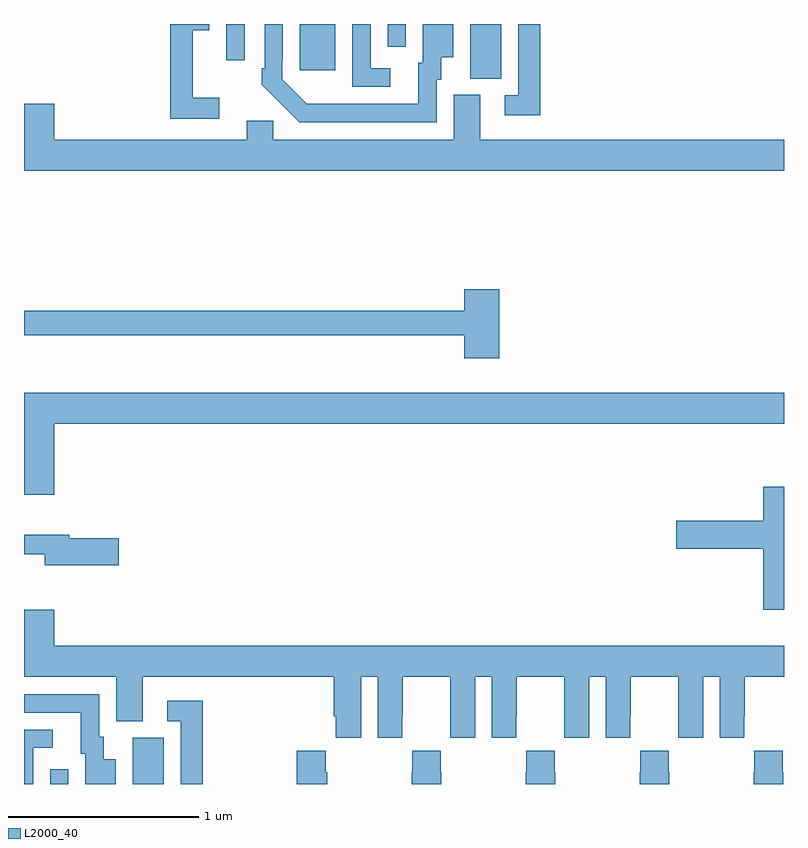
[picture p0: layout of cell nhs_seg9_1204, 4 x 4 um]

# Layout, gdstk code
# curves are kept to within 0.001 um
import gdstk
lib = gdstk.Library(unit=1e-6, precision=1e-09)
def R(c, l, rs):  # rectangles x0, y0, x1, y1
    for r in rs: c.add(gdstk.rectangle(r[:2], r[2:], *l))
def P(c, l, *ps):  # polygons
    for p in ps: c.add(gdstk.Polygon(p, *l))
L2000_40 = (2000, 40)

nhs_seg9_1204 = lib.new_cell('nhs_seg9_1204')
R(nhs_seg9_1204, L2000_40, [(177.138,1218.5,177.234,1218.577), (177.572,1218.5,177.736,1218.744), (179.348,1222.213,179.512,1222.5), (178.451,1222.257,178.639,1222.5), (178.065,1222.308,178.161,1222.5), (178.914,1222.38,179.01,1222.5)])
P(nhs_seg9_1204, L2000_40, [(178.927,1222.266),(178.824,1222.266),(178.824,1222.5),(178.728,1222.5),(178.728,1222.17),(178.927,1222.17)],
  [(179.717,1222.5),(179.601,1222.5),(179.601,1222.125),(179.529,1222.125),(179.529,1222.02),(179.717,1222.02)],
  [(178.027,1222.111),(177.887,1222.111),(177.887,1222.466),(177.976,1222.466),(177.976,1222.5),(177.769,1222.5),(177.769,1222.002),(178.027,1222.002)],
  [(179.172,1222.206),(179.197,1222.206),(179.197,1222.325),(179.26,1222.325),(179.26,1222.5),(179.099,1222.5),(179.099,1222.296),(179.075,1222.296),(179.075,1222.08),(178.488,1222.081),(178.359,1222.209),(178.359,1222.309),(178.362,1222.309),(178.362,1222.5),(178.266,1222.5),(178.266,1222.267),(178.251,1222.267),(178.251,1222.179),(178.448,1221.984),(179.172,1221.984)],
  [(181,1221.892),(179.401,1221.892),(179.401,1222.128),(179.261,1222.128),(179.261,1221.892),(178.311,1221.892),(178.311,1221.99),(178.172,1221.99),(178.172,1221.892),(177.16,1221.892),(177.16,1222.081),(177,1222.081),(177,1221.728),(181,1221.728)],
  [(179.501,1221.103),(179.318,1221.103),(179.318,1220.99),(177,1220.99),(177,1220.862),(179.318,1220.862),(179.318,1220.742),(179.501,1220.742)],
  [(177.16,1220.396),(181,1220.396),(181,1220.56),(177,1220.56),(177,1220.022),(177.16,1220.022)],
  [(181,1220.065),(180.89,1220.065),(180.89,1219.886),(180.432,1219.886),(180.432,1219.739),(180.89,1219.739),(180.89,1219.416),(181,1219.416)],
  [(177.499,1219.793),(177.238,1219.793),(177.238,1219.811),(177,1219.811),(177,1219.708),(177.11,1219.708),(177.11,1219.651),(177.499,1219.651)],
  [(177.16,1219.417),(177,1219.417),(177,1219.064),(177.485,1219.064),(177.485,1218.829),(177.625,1218.829),(177.625,1219.064),(178.631,1219.064),(178.631,1218.856),(178.64,1218.856),(178.64,1218.744),(178.774,1218.744),(178.774,1219.064),(178.862,1219.064),(178.862,1218.744),(178.992,1218.744),(178.992,1218.856),(178.993,1218.856),(178.993,1219.064),(179.243,1219.064),(179.243,1218.856),(179.244,1218.856),(179.244,1218.744),(179.374,1218.744),(179.374,1219.064),(179.462,1219.064),(179.462,1218.744),(179.592,1218.744),(179.592,1218.856),(179.593,1218.856),(179.593,1219.064),(179.843,1219.064),(179.843,1218.856),(179.844,1218.856),(179.844,1218.744),(179.974,1218.744),(179.974,1219.064),(180.062,1219.064),(180.062,1218.744),(180.192,1218.744),(180.192,1218.856),(180.193,1218.856),(180.193,1219.064),(180.443,1219.064),(180.443,1218.856),(180.444,1218.856),(180.444,1218.744),(180.574,1218.744),(180.574,1219.064),(180.662,1219.064),(180.662,1218.744),(180.792,1218.744),(180.792,1218.856),(180.793,1218.856),(180.793,1219.064),(181,1219.064),(181,1219.228),(177.16,1219.228)],
  [(177.484,1218.631),(177.421,1218.631),(177.421,1218.75),(177.396,1218.75),(177.396,1218.972),(177,1218.972),(177,1218.876),(177.299,1218.876),(177.299,1218.66),(177.323,1218.66),(177.323,1218.5),(177.484,1218.5)],
  [(177.941,1218.937),(177.753,1218.937),(177.753,1218.831),(177.825,1218.831),(177.825,1218.5),(177.941,1218.5)],
  [(177.048,1218.69),(177.151,1218.69),(177.151,1218.786),(177,1218.786),(177,1218.5),(177.048,1218.5)],
  [(178.596,1218.563),(178.589,1218.563),(178.589,1218.676),(178.436,1218.676),(178.436,1218.5),(178.596,1218.5)],
  [(179.196,1218.563),(179.193,1218.563),(179.193,1218.676),(179.043,1218.676),(179.043,1218.563),(179.041,1218.563),(179.041,1218.5),(179.196,1218.5)],
  [(179.796,1218.563),(179.793,1218.563),(179.793,1218.676),(179.643,1218.676),(179.643,1218.563),(179.641,1218.563),(179.641,1218.5),(179.796,1218.5)],
  [(180.396,1218.563),(180.393,1218.563),(180.393,1218.676),(180.243,1218.676),(180.243,1218.563),(180.241,1218.563),(180.241,1218.5),(180.396,1218.5)],
  [(180.996,1218.563),(180.993,1218.563),(180.993,1218.676),(180.843,1218.676),(180.843,1218.563),(180.841,1218.563),(180.841,1218.5),(180.996,1218.5)])

lib.write_gds('nhs_seg9_1204.gds')
